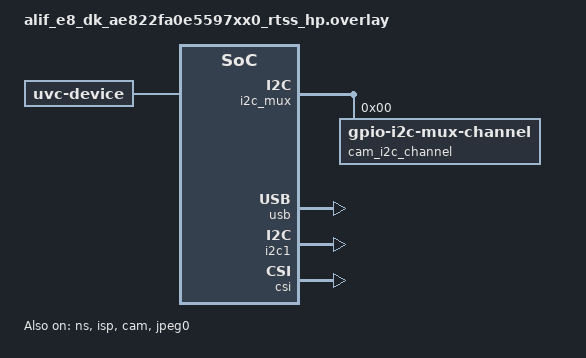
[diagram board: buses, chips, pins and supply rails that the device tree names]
/* Copyright (C) 2026 Alif Semiconductor - All Rights Reserved.
 * Use, distribution and modification of this code are permitted under the
 * terms stated in the Alif Semiconductor Software License Agreement.
 *
 * You should have received a copy of the Alif Semiconductor Software
 * License Agreement with this file. If not, please write to:
 * contact@alifsemi.com, or visit: https://alifsemi.com/license
 *
 * E8 DK (RTSS-HP) UVC pipeline - common board plumbing shared by all sensors.
 *
 * This overlay is applied automatically for every E8 DK build (by board name),
 * so it holds everything that is identical for the ARX3A0 / MT9M114 / OV5675
 * pipelines: the USB device controller, the non-secure DTCM region, the AIPM
 * run profile (PHY / clock gating), the ISP and camera (CPI) forwarding graph,
 * the CSI receiver (minus the sensor-facing input endpoint), the i2c-mux that
 * carries the camera I2C, the Hantro JPEG encoder and the UVC device.
 *
 * It deliberately wires NO sensor: the E8 DK has no default camera. Pick one by
 * adding its sensor overlay with EXTRA_DTC_OVERLAY_FILE (arx3a0 / mt9m114 /
 * ov5675 - see the README). That sensor overlay drops the sensor node into the
 * i2c-mux channel (&cam_i2c_channel) and supplies the CSI input endpoint
 * (&csi port@0) with the sensor's lane count, which is the only part of the CSI
 * receiver that differs between the three sensors.
 */

#include <dt-bindings/pinctrl/ensemble-pinctrl.h>
#include <dt-bindings/i2c/i2c.h>
#include <dt-bindings/gpio/gpio.h>
#include <dt-bindings/video/video-interfaces.h>
#include <zephyr/dt-bindings/clock/alif_ensemble_clocks.h>
#include <dt-bindings/misc/alif_aipm_common.h>

/*
 * AIPM run profile. On the Ensemble gen2 (E8) the SE run profile - including
 * which PHYs are powered - is driven from this devicetree node, not only from
 * the app-code se_service call. The default leaves phy-pwr-gating at 0, so the
 * USB PHY is unpowered and the DWC3 controller cannot complete control
 * transfers (the host sees a high-speed device but every GET_DESCRIPTOR fails).
 * Power the USB PHY here, together with the MIPI D-PHY the CSI-2 link needs and
 * the camera / CSI IP clocks, so both the camera pipeline and USB come up
 * regardless of which mechanism is authoritative.
 */
&aipm_run_default {
	phy-pwr-gating = <(ALIF_PHY_GATE_LDO_MASK |
			   ALIF_PHY_GATE_USB_MASK |
			   ALIF_PHY_GATE_MIPI_TX_DPHY_MASK |
			   ALIF_PHY_GATE_MIPI_RX_DPHY_MASK |
			   ALIF_PHY_GATE_MIPI_PLL_DPHY_MASK)>;
	ip-clock-gating = <(ALIF_IP_CLK_GATE_CAMERA_MASK |
			    ALIF_IP_CLK_GATE_MIPI_DSI_MASK |
			    ALIF_IP_CLK_GATE_MIPI_CSI_MASK)>;
};

/*
 * Enable the NON_SECURE0 region (DTCM). This is REQUIRED for USB: the DWC3
 * controller is a bus master that issues non-secure accesses, so its DMA
 * structures (event buffer, TRBs, setup packet, the UDC net_buf pool) must
 * live in non-secure memory. The SoC linker fragment alif_ns.ld collects those
 * USB/UDC buffers into NON_SECURE0 only when this node is enabled; leaving it
 * disabled leaves them in secure DTCM, the controller cannot read/write them,
 * and enumeration fails (host: descriptor read error -71 / -110).
 *
 * The video capture / JPEG buffers stay in SRAM0 (claimed there by sram.ld,
 * which the ISP and JPEG masters can access), so the large NV12 + JPEG pool
 * does not need to fit in this small DTCM window - only the USB buffers land
 * here. NON_SECURE0 must remain in DTCM: the boot-time TGU setup
 * (modules/hal/alif tgu.c) marks it non-secure using DTCM-relative block
 * indices, so an SRAM base would corrupt the TGU LUT.
 */
&ns {
	status = "okay";
};

/*
 * USB device controller (DWC3). The E8 SoC devicetree already provides this
 * node: it is inherited from e1.dtsi (via e3_e5_e7.dtsi -> e4_e6_e8.dtsi, which
 * also overrides num-out-eps/num-in-eps to 5/11 for the E8), and is only left
 * status = "disabled" by default. So, exactly like the E1C/B1 sample overlays,
 * just enable it here and label it zephyr_udc0 so the USB device stack picks it
 * up. The clocks are re-listed to add the SDC gate alongside the USB clock.
 */
zephyr_udc0: &usb {
	clocks = <&clockctrl ALIF_SDC_CLK>, <&clockctrl ALIF_USB_CLK>;
	status = "okay";
};

/*
 * Camera I2C bus. Sensors that need Fast-mode I2C (MT9M114, OV5675) raise the
 * speed in their own overlay; the ARX3A0 runs at the default Standard speed.
 */
&i2c1 {
	status = "okay";
};

&gpio7 {
	status = "okay";
};

&gpio14 {
	status = "okay";
};

/*
 * GPIO-controlled I2C mux that fronts the camera bus. The sensor node is added
 * to the mux channel (&cam_i2c_channel) by the sensor overlay; the mux and
 * channel scaffolding are identical for every sensor.
 */
/ {
	i2c_mux: i2c-mux {
		compatible = "gpio-i2c-mux";
		status = "okay";
		#address-cells = <1>;
		#size-cells = <0>;

		i2c-inst = <&i2c1>;

		ctrl-gpios = <&gpio14 3 GPIO_ACTIVE_HIGH>;

		cam_i2c_channel: mux_i2c@0 {
			compatible = "gpio-i2c-mux-channel";
			reg = <0>;

			#address-cells = <1>;
			#size-cells = <0>;

			/* Sensor node is added here by the sensor overlay. */
		};
	};
};

&isp {
	status = "okay";

	port {
		isp_ep_in: endpoint {
			remote-endpoint-label = "cam_isp_ep_out";
		};
	};
};

&cam {
	status = "okay";

	pinctrl-0 = <&pinctrl_cam_xvclk>;
	pinctrl-names = "default";

	ports {
		#address-cells = <1>;
		#size-cells = <0>;

		/* MIPI CSI-2 bus endpoint. */
		port@0 {
			reg = <0>;
			cam_csi2_ep_in: endpoint {
				remote-endpoint-label = "csi2_ep_out";
			};
		};

		/* ISP Interface. */
		port@2 {
			reg = <2>;
			cam_isp_ep_out: endpoint {
				remote-endpoint-label = "isp_ep_in";
			};
		};
	};
};

&csi {
	status = "okay";

	/*
	 * Selfie camera D-PHY. The sensor-facing input endpoint (port@0) is
	 * supplied by the sensor overlay, because its data-lane count (and the
	 * remote endpoint it links to) differ per sensor. port@2 (the parallel
	 * hand-off to the CPI) is the same for every sensor and lives here.
	 */
	phy-if = <&dphy 0>;
	ports {
		#address-cells = <1>;
		#size-cells = <0>;
		port@2 {
			reg = <2>;
			csi2_ep_out: endpoint {
				remote-endpoint-label = "cam_csi2_ep_in";
				bus-type = <VIDEO_BUS_TYPE_PARALLEL>;
			};
		};
	};
};

/* Hantro VC9000E JPEG hardware encoder. */
&jpeg0 {
	status = "okay";
	quality-factor = <75>;
	max-burst-length = <64>;
};

/* In-tree USB Video Class webcam (streams the JPEG encoder's MJPEG output). */
/ {
	uvc: uvc {
		compatible = "zephyr,uvc-device";
	};
};
